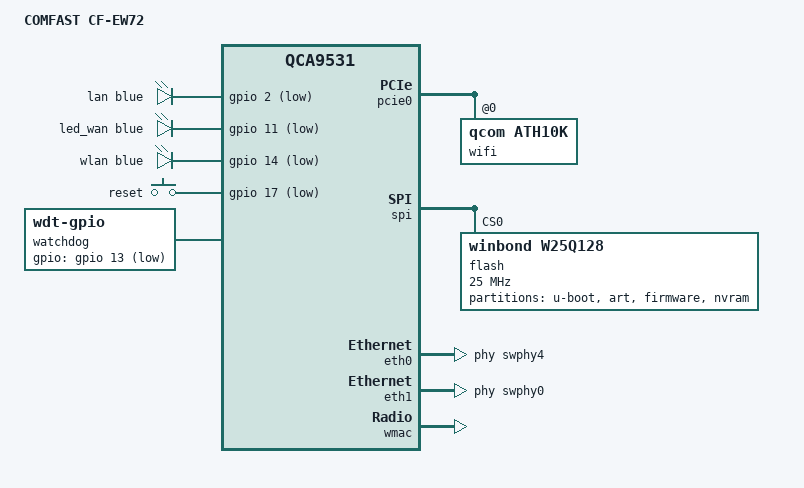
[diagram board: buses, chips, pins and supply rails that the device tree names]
// SPDX-License-Identifier: GPL-2.0-or-later OR MIT

#include "qca953x.dtsi"

#include <dt-bindings/gpio/gpio.h>
#include <dt-bindings/input/input.h>
#include <dt-bindings/leds/common.h>

/ {
	compatible = "comfast,cf-ew72", "qca,qca9531";
	model = "COMFAST CF-EW72";

	aliases {
		serial0 = &uart;
		led-boot = &led_wan;
		led-failsafe = &led_wan;
		led-upgrade = &led_wan;
	};

	leds {
		compatible = "gpio-leds";

		pinctrl-names = "default";
		pinctrl-0 = <&jtag_disable_pins>;

		lan {
			function = LED_FUNCTION_LAN;
			color = <LED_COLOR_ID_BLUE>;
			gpios = <&gpio 2 GPIO_ACTIVE_LOW>;
		};

		led_wan: wan {
			function = LED_FUNCTION_WAN;
			color = <LED_COLOR_ID_BLUE>;
			gpios = <&gpio 11 GPIO_ACTIVE_LOW>;
		};

		wlan {
			function = LED_FUNCTION_WLAN;
			color = <LED_COLOR_ID_BLUE>;
			gpios = <&gpio 14 GPIO_ACTIVE_LOW>;
			linux,default-trigger = "phy0tpt";
		};
	};

	keys {
		compatible = "gpio-keys";

		reset {
			label = "reset";
			linux,code = <KEY_RESTART>;
			gpios = <&gpio 17 GPIO_ACTIVE_LOW>;
			debounce-interval = <60>;
		};
	};

	watchdog {
		compatible = "linux,wdt-gpio";

		gpios = <&gpio 13 GPIO_ACTIVE_LOW>;
		hw_algo = "toggle";
		hw_margin_ms = <1200>;
		always-running;
	};
};

&pcie0 {
	status = "okay";

	wifi@0,0 {
		compatible = "qcom,ath10k";
		reg = <0x0000 0 0 0 0>;
		nvmem-cells = <&precal_art_5000>, <&macaddr_art_0 2>;
		nvmem-cell-names = "pre-calibration", "mac-address";
	};
};

&spi {
	status = "okay";

	flash@0 {
		compatible = "winbond,w25q128", "jedec,spi-nor";
		reg = <0>;
		spi-max-frequency = <25000000>;

		partitions {
			compatible = "fixed-partitions";
			#address-cells = <1>;
			#size-cells = <1>;

			partition@0 {
				label = "u-boot";
				reg = <0x000000 0x010000>;
				read-only;
			};

			partition@10000 {
				label = "art";
				reg = <0x010000 0x010000>;
				read-only;

				nvmem-layout {
					compatible = "fixed-layout";
					#address-cells = <1>;
					#size-cells = <1>;

					macaddr_art_0: macaddr@0 {
						compatible = "mac-base";
						reg = <0x0 0x6>;
						#nvmem-cell-cells = <1>;
					};

					cal_art_1000: calibration@1000 {
						reg = <0x1000 0x440>;
					};

					precal_art_5000: pre-calibration@5000 {
						reg = <0x5000 0x2f20>;
					};
				};
			};

			partition@20000 {
				compatible = "denx,uimage";
				label = "firmware";
				reg = <0x020000 0xfd0000>;
			};

			partition@ff0000 {
				label = "nvram";
				reg = <0xff0000 0x010000>;
				read-only;
			};
		};
	};
};

&eth0 {
	status = "okay";

	phy-handle = <&swphy4>;

	nvmem-cells = <&macaddr_art_0 1>;
	nvmem-cell-names = "mac-address";
};

&eth1 {
	phy-handle = <&swphy0>;

	nvmem-cells = <&macaddr_art_0 0>;
	nvmem-cell-names = "mac-address";

	/delete-node/ fixed-link;
};

&wdt {
	status = "disabled";
};

&wmac {
	status = "okay";

	nvmem-cells = <&macaddr_art_0 3>, <&cal_art_1000>;
	nvmem-cell-names = "mac-address", "calibration";
};
